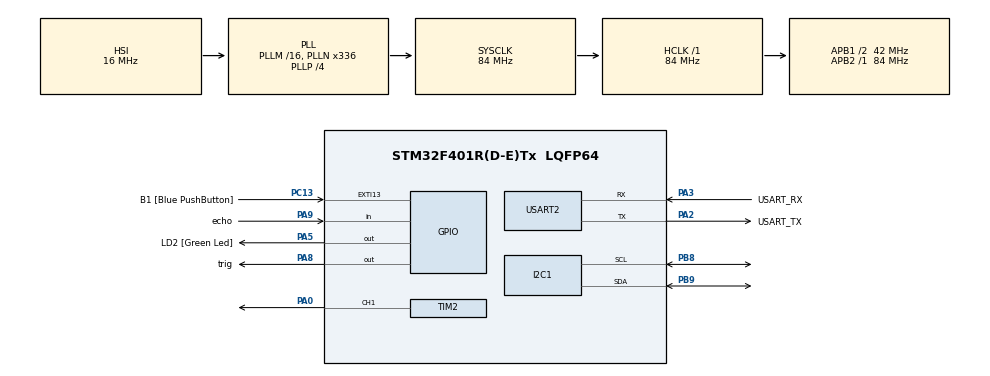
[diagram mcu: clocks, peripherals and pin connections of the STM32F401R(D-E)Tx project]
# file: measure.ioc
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Mcu.Family=STM32F4
Mcu.Name=STM32F401R(D-E)Tx
Mcu.Package=LQFP64
NVIC.PriorityGroup=NVIC_PRIORITYGROUP_0
PA0-WKUP.Signal=S_TIM2_CH1_ETR
PA13.GPIO_Label=TMS
PA13.Mode=Serial_Wire
PA13.Signal=SYS_JTMS-SWDIO
PA14.GPIO_Label=TCK
PA14.Mode=Serial_Wire
PA14.Signal=SYS_JTCK-SWCLK
PA2.GPIO_Label=USART_TX
PA2.GPIO_Mode=GPIO_MODE_AF_PP
PA2.GPIO_PuPd=GPIO_NOPULL
PA2.GPIO_Speed=GPIO_SPEED_FREQ_LOW
PA2.Mode=Asynchronous
PA2.Signal=USART2_TX
PA3.GPIO_Label=USART_RX
PA3.GPIO_Mode=GPIO_MODE_AF_PP
PA3.GPIO_PuPd=GPIO_NOPULL
PA3.GPIO_Speed=GPIO_SPEED_FREQ_LOW
PA3.Mode=Asynchronous
PA3.Signal=USART2_RX
PA5.GPIO_Label=LD2 [Green Led]
PA5.GPIO_Mode=GPIO_MODE_OUTPUT_PP
PA5.GPIO_PuPd=GPIO_NOPULL
PA5.GPIO_Speed=GPIO_SPEED_FREQ_LOW
PA5.Signal=GPIO_Output
PA8.GPIO_Label=trig
PA8.Signal=GPIO_Output
PA9.GPIO_Label=echo
PA9.Signal=GPIO_Input
PB3.GPIO_Label=SWO
PB3.Signal=SYS_JTDO-SWO
PB8.Mode=I2C
PB8.Signal=I2C1_SCL
PB9.Mode=I2C
PB9.Signal=I2C1_SDA
PC13-ANTI_TAMP.GPIO_Label=B1 [Blue PushButton]
PC13-ANTI_TAMP.GPIO_ModeDefaultEXTI=GPIO_MODE_IT_FALLING
PC13-ANTI_TAMP.GPIO_PuPd=GPIO_NOPULL
PC13-ANTI_TAMP.Signal=GPXTI13
PC14-OSC32_IN.Signal=RCC_OSC32_IN
PC15-OSC32_OUT.Signal=RCC_OSC32_OUT
PH0\ -\ OSC_IN.Mode=HSE-External-Oscillator
PH0\ -\ OSC_IN.Signal=RCC_OSC_IN
PH1\ -\ OSC_OUT.Mode=HSE-External-Oscillator
PH1\ -\ OSC_OUT.Signal=RCC_OSC_OUT
ProjectManager.HeapSize=0x200
ProjectManager.StackSize=0x400
ProjectManager.TargetToolchain=STM32CubeIDE
RCC.48MHZClocksFreq_Value=48000000
RCC.AHBFreq_Value=84000000
RCC.APB1CLKDivider=RCC_HCLK_DIV2
RCC.APB1Freq_Value=42000000
RCC.APB1TimFreq_Value=84000000
RCC.APB2Freq_Value=84000000
RCC.APB2TimFreq_Value=84000000
RCC.CortexFreq_Value=84000000
RCC.HCLKFreq_Value=84000000
RCC.HSE_VALUE=8000000
RCC.HSI_VALUE=16000000
RCC.LSE_VALUE=32768
RCC.PLLN=336
RCC.PLLP=RCC_PLLP_DIV4
RCC.PLLQ=7
RCC.SYSCLKFreq_VALUE=84000000
RCC.SYSCLKSource=RCC_SYSCLKSOURCE_PLLCLK
RCC.VCOOutputFreq_Value=336000000
SH.S_TIM2_CH1_ETR.0=TIM2_CH1,PWM Generation1 CH1
TIM2.Channel-PWM\ Generation1\ CH1=TIM_CHANNEL_1
TIM2.Period=8400-1
TIM2.Prescaler=200-1
TIM4.Prescaler=84-1
USART2.VirtualMode=VM_ASYNC
VP_TIM2_VS_ClockSourceINT.Mode=Internal
VP_TIM4_VS_ClockSourceINT.Mode=Internal
board=NUCLEO-F401RE

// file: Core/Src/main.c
/* USER CODE BEGIN Header */
/**
  ******************************************************************************
  * @file           : main.c
  * @brief          : Main program body
  ******************************************************************************
  * @attention
  *
  * Copyright (c) 2025 STMicroelectronics.
  * All rights reserved.
  *
  * This software is licensed under terms that can be found in the LICENSE file
  * in the root directory of this software component.
  * If no LICENSE file comes with this software, it is provided AS-IS.
  *
  ******************************************************************************
  */
/* USER CODE END Header */
#include "main.h"

/* USER CODE BEGIN Includes */
#include<string.h>
#include<stdio.h>
#include"liquidcrystal_i2c.h"

/* USER CODE END Includes */

/* USER CODE BEGIN PTD */
#define usTIM TIM4

/* USER CODE END PTD */

I2C_HandleTypeDef hi2c1;

TIM_HandleTypeDef htim2;
TIM_HandleTypeDef htim4;

UART_HandleTypeDef huart2;

void SystemClock_Config(void);
static void MX_GPIO_Init(void);
static void MX_USART2_UART_Init(void);
static void MX_TIM4_Init(void);
static void MX_I2C1_Init(void);
static void MX_TIM2_Init(void);
/* USER CODE BEGIN PFP */
void usDelay(uint32_t uSec);

/* USER CODE END PFP */

/* USER CODE BEGIN 0 */
const float speedOfSound =0.0343/2;
float distance ;
float limit = 10;
char uartBuf[100];
char str[4];

void Set_Servo_Angle(TIM_HandleTypeDef *htim, uint32_t channel, uint8_t angle)
{
    // Map angle (0-180) to pulse width (210-1050 counts)
    //210 for 0.5ms (0 degrees) and 1050 for 2.5ms (180 degrees)
    uint32_t pulse_length = 210 + (angle * (1050 - 210) / 180);
    __HAL_TIM_SET_COMPARE(htim, channel, pulse_length);
}
/* USER CODE END 0 */

int main(void)
{
  /* USER CODE BEGIN 1 */
	uint32_t numTicks;

  /* USER CODE END 1 */

  /* MCU Configuration--------------------------------------------------------*/

  /* Reset of all peripherals, Initializes the Flash interface and the Systick. */
  HAL_Init();

  /* Configure the system clock */
  SystemClock_Config();

  /* Initialize all configured peripherals */
  MX_GPIO_Init();
  MX_USART2_UART_Init();
  MX_TIM4_Init();
  MX_I2C1_Init();
  MX_TIM2_Init();
  /* USER CODE BEGIN 2 */
  HD44780_Init(2);
  HD44780_Clear();
  HD44780_SetCursor(0,0);
  HD44780_PrintStr("distance est");
  HAL_TIM_PWM_Start(&htim2, TIM_CHANNEL_1);
  /* USER CODE END 2 */

  /* Infinite loop */
  while (1)
  {

    /* USER CODE BEGIN 3 */
	 // USER CODE BEGIN 3 */
	 	  HAL_GPIO_WritePin(trig_GPIO_Port, trig_Pin, GPIO_PIN_RESET);
	 	  usDelay(3);
	 	  //start the measure
	 	  //output 10usec to trig
	 	  HAL_GPIO_WritePin(trig_GPIO_Port, trig_Pin, GPIO_PIN_SET);
	 	  usDelay(10);
	 	  HAL_GPIO_WritePin(trig_GPIO_Port, trig_Pin, GPIO_PIN_RESET);
	 	  //wait for echo pin rising edge
	 	  while(HAL_GPIO_ReadPin(echo_GPIO_Port, echo_Pin)== GPIO_PIN_RESET );
	 	  //start mesuring the echo pin pulse
	 	  numTicks=0;
	 	  while(HAL_GPIO_ReadPin(echo_GPIO_Port, echo_Pin)== GPIO_PIN_SET){
	 		  numTicks++;
	 		  usDelay(2);
	 	  };
	 	 distance=( numTicks + 0.0f)*2.8*speedOfSound;
	 	 //sprintf(uartBuf, "distance (cm)= %.1f\r\n", distance );
         //HAL_UART_Transmit(&huart2,(uint8_t *)uartBuf,strlen(uartBuf),100);
         HAL_Delay(250);
         sprintf(uartBuf,"%.2f",distance);
         if(distance < limit){
         HD44780_Clear();
         HD44780_SetCursor(0,0);
         HD44780_PrintStr("distance :");
         HD44780_SetCursor(10,0);
         HD44780_PrintStr(uartBuf);
         //for (uint8_t angle = 0; angle <= 180; angle += 10)
         	            //{
         	                //Set_Servo_Angle(&htim2, TIM_CHANNEL_1, angle);
         	                //HAL_Delay(100);
         	               //HD44780_SetCursor(0,1);
         	               //HD44780_PrintStr("door open");
         	            //}

         	            // Sweep back from 180 to 0 degrees
         	           //for (uint8_t angle = 10; angle < 180; angle += 10)
         	            //{
         	               Set_Servo_Angle(&htim2, TIM_CHANNEL_1, 90);
         	               HAL_GPIO_WritePin(GPIOA, GPIO_PIN_5, SET);
         	               HD44780_SetCursor(0,1);
         	               HD44780_PrintStr("door open");
         	                //HAL_Delay(100);

         	           //}

  }
         else {
        	 HD44780_Clear();
        	          HD44780_SetCursor(0,0);
        	          HD44780_PrintStr("distance :");
        	          HD44780_SetCursor(10,0);
        	          HD44780_PrintStr(uartBuf);
        	          HD44780_SetCursor(0,1);
        	          HD44780_PrintStr("door closed");
        	 HAL_Delay(500);
        	 Set_Servo_Angle(&htim2, TIM_CHANNEL_1, 0);
              HAL_GPIO_WritePin(GPIOA, GPIO_PIN_5, RESET);
         }
  /* USER CODE END 3 */
}
}
void SystemClock_Config(void)
{
  RCC_OscInitTypeDef RCC_OscInitStruct = {0};
  RCC_ClkInitTypeDef RCC_ClkInitStruct = {0};

  /** Configure the main internal regulator output voltage
  */
  __HAL_RCC_PWR_CLK_ENABLE();
  __HAL_PWR_VOLTAGESCALING_CONFIG(PWR_REGULATOR_VOLTAGE_SCALE2);

  /** Initializes the RCC Oscillators according to the specified parameters
  * in the RCC_OscInitTypeDef structure.
  */
  RCC_OscInitStruct.OscillatorType = RCC_OSCILLATORTYPE_HSI;
  RCC_OscInitStruct.HSIState = RCC_HSI_ON;
  RCC_OscInitStruct.HSICalibrationValue = RCC_HSICALIBRATION_DEFAULT;
  RCC_OscInitStruct.PLL.PLLState = RCC_PLL_ON;
  RCC_OscInitStruct.PLL.PLLSource = RCC_PLLSOURCE_HSI;
  RCC_OscInitStruct.PLL.PLLM = 16;
  RCC_OscInitStruct.PLL.PLLN = 336;
  RCC_OscInitStruct.PLL.PLLP = RCC_PLLP_DIV4;
  RCC_OscInitStruct.PLL.PLLQ = 7;
  if (HAL_RCC_OscConfig(&RCC_OscInitStruct) != HAL_OK)
  {
    Error_Handler();
  }

  /** Initializes the CPU, AHB and APB buses clocks
  */
  RCC_ClkInitStruct.ClockType = RCC_CLOCKTYPE_HCLK|RCC_CLOCKTYPE_SYSCLK
                              |RCC_CLOCKTYPE_PCLK1|RCC_CLOCKTYPE_PCLK2;
  RCC_ClkInitStruct.SYSCLKSource = RCC_SYSCLKSOURCE_PLLCLK;
  RCC_ClkInitStruct.AHBCLKDivider = RCC_SYSCLK_DIV1;
  RCC_ClkInitStruct.APB1CLKDivider = RCC_HCLK_DIV2;
  RCC_ClkInitStruct.APB2CLKDivider = RCC_HCLK_DIV1;

  if (HAL_RCC_ClockConfig(&RCC_ClkInitStruct, FLASH_LATENCY_2) != HAL_OK)
  {
    Error_Handler();
  }
}

static void MX_I2C1_Init(void)
{

  hi2c1.Instance = I2C1;
  hi2c1.Init.ClockSpeed = 100000;
  hi2c1.Init.DutyCycle = I2C_DUTYCYCLE_2;
  hi2c1.Init.OwnAddress1 = 0;
  hi2c1.Init.AddressingMode = I2C_ADDRESSINGMODE_7BIT;
  hi2c1.Init.DualAddressMode = I2C_DUALADDRESS_DISABLE;
  hi2c1.Init.OwnAddress2 = 0;
  hi2c1.Init.GeneralCallMode = I2C_GENERALCALL_DISABLE;
  hi2c1.Init.NoStretchMode = I2C_NOSTRETCH_DISABLE;
  if (HAL_I2C_Init(&hi2c1) != HAL_OK)
  {
    Error_Handler();
  }

}

static void MX_TIM2_Init(void)
{

  TIM_ClockConfigTypeDef sClockSourceConfig = {0};
  TIM_MasterConfigTypeDef sMasterConfig = {0};
  TIM_OC_InitTypeDef sConfigOC = {0};

  htim2.Instance = TIM2;
  htim2.Init.Prescaler = 200-1;
  htim2.Init.CounterMode = TIM_COUNTERMODE_UP;
  htim2.Init.Period = 8400-1;
  htim2.Init.ClockDivision = TIM_CLOCKDIVISION_DIV1;
  htim2.Init.AutoReloadPreload = TIM_AUTORELOAD_PRELOAD_DISABLE;
  if (HAL_TIM_Base_Init(&htim2) != HAL_OK)
  {
    Error_Handler();
  }
  sClockSourceConfig.ClockSource = TIM_CLOCKSOURCE_INTERNAL;
  if (HAL_TIM_ConfigClockSource(&htim2, &sClockSourceConfig) != HAL_OK)
  {
    Error_Handler();
  }
  if (HAL_TIM_PWM_Init(&htim2) != HAL_OK)
  {
    Error_Handler();
  }
  sMasterConfig.MasterOutputTrigger = TIM_TRGO_RESET;
  sMasterConfig.MasterSlaveMode = TIM_MASTERSLAVEMODE_DISABLE;
  if (HAL_TIMEx_MasterConfigSynchronization(&htim2, &sMasterConfig) != HAL_OK)
  {
    Error_Handler();
  }
  sConfigOC.OCMode = TIM_OCMODE_PWM1;
  sConfigOC.Pulse = 0;
  sConfigOC.OCPolarity = TIM_OCPOLARITY_HIGH;
  sConfigOC.OCFastMode = TIM_OCFAST_DISABLE;
  if (HAL_TIM_PWM_ConfigChannel(&htim2, &sConfigOC, TIM_CHANNEL_1) != HAL_OK)
  {
    Error_Handler();
  }
  HAL_TIM_MspPostInit(&htim2);

}

static void MX_TIM4_Init(void)
{

  TIM_ClockConfigTypeDef sClockSourceConfig = {0};
  TIM_MasterConfigTypeDef sMasterConfig = {0};

  htim4.Instance = TIM4;
  htim4.Init.Prescaler = 84-1;
  htim4.Init.CounterMode = TIM_COUNTERMODE_UP;
  htim4.Init.Period = 65535;
  htim4.Init.ClockDivision = TIM_CLOCKDIVISION_DIV1;
  htim4.Init.AutoReloadPreload = TIM_AUTORELOAD_PRELOAD_DISABLE;
  if (HAL_TIM_Base_Init(&htim4) != HAL_OK)
  {
    Error_Handler();
  }
  sClockSourceConfig.ClockSource = TIM_CLOCKSOURCE_INTERNAL;
  if (HAL_TIM_ConfigClockSource(&htim4, &sClockSourceConfig) != HAL_OK)
  {
    Error_Handler();
  }
  sMasterConfig.MasterOutputTrigger = TIM_TRGO_RESET;
  sMasterConfig.MasterSlaveMode = TIM_MASTERSLAVEMODE_DISABLE;
  if (HAL_TIMEx_MasterConfigSynchronization(&htim4, &sMasterConfig) != HAL_OK)
  {
    Error_Handler();
  }

}

static void MX_USART2_UART_Init(void)
{

  huart2.Instance = USART2;
  huart2.Init.BaudRate = 115200;
  huart2.Init.WordLength = UART_WORDLENGTH_8B;
  huart2.Init.StopBits = UART_STOPBITS_1;
  huart2.Init.Parity = UART_PARITY_NONE;
  huart2.Init.Mode = UART_MODE_TX_RX;
  huart2.Init.HwFlowCtl = UART_HWCONTROL_NONE;
  huart2.Init.OverSampling = UART_OVERSAMPLING_16;
  if (HAL_UART_Init(&huart2) != HAL_OK)
  {
    Error_Handler();
  }

}

static void MX_GPIO_Init(void)
{
  GPIO_InitTypeDef GPIO_InitStruct = {0};

  /* GPIO Ports Clock Enable */
  __HAL_RCC_GPIOC_CLK_ENABLE();
  __HAL_RCC_GPIOH_CLK_ENABLE();
  __HAL_RCC_GPIOA_CLK_ENABLE();
  __HAL_RCC_GPIOB_CLK_ENABLE();

  /*Configure GPIO pin Output Level */
  HAL_GPIO_WritePin(GPIOA, LD2_Pin|trig_Pin, GPIO_PIN_RESET);

  /*Configure GPIO pin : B1_Pin */
  GPIO_InitStruct.Pin = B1_Pin;
  GPIO_InitStruct.Mode = GPIO_MODE_IT_FALLING;
  GPIO_InitStruct.Pull = GPIO_NOPULL;
  HAL_GPIO_Init(B1_GPIO_Port, &GPIO_InitStruct);

  /*Configure GPIO pins : LD2_Pin trig_Pin */
  GPIO_InitStruct.Pin = LD2_Pin|trig_Pin;
  GPIO_InitStruct.Mode = GPIO_MODE_OUTPUT_PP;
  GPIO_InitStruct.Pull = GPIO_NOPULL;
  GPIO_InitStruct.Speed = GPIO_SPEED_FREQ_LOW;
  HAL_GPIO_Init(GPIOA, &GPIO_InitStruct);

  /*Configure GPIO pin : echo_Pin */
  GPIO_InitStruct.Pin = echo_Pin;
  GPIO_InitStruct.Mode = GPIO_MODE_INPUT;
  GPIO_InitStruct.Pull = GPIO_NOPULL;
  HAL_GPIO_Init(echo_GPIO_Port, &GPIO_InitStruct);

}

/* USER CODE BEGIN 4 */
void usDelay(uint32_t uSec){
	if (uSec < 2) uSec=2;
	usTIM->ARR=uSec-1;
	usTIM->EGR=1;
	usTIM->SR&=~1;
	usTIM->CR1 |=1;
	while((usTIM-> SR&0x0001) !=1);
	usTIM-> SR&=~(0x0001);
}
/* USER CODE END 4 */

void Error_Handler(void)
{
  __disable_irq();
  while (1)
  {
  }
}
